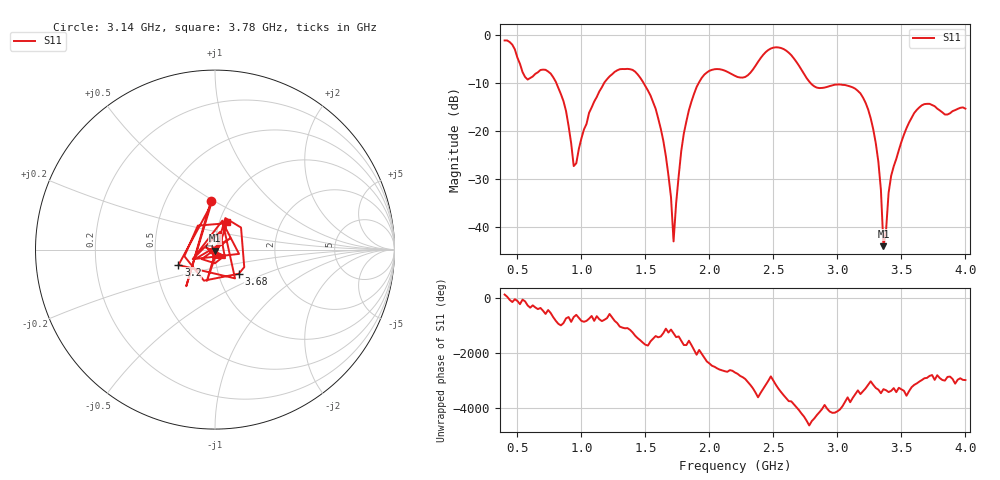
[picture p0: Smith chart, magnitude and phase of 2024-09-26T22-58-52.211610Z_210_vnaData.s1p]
!Created with skrf (http://scikit-rf.org).
# Hz S RI R 50.0
!freq ReS11 ImS11
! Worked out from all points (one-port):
!   181 points, 400 MHz to 4 GHz, reference 50 ohm
!   lowest |S11| = -44.1 dB at 3.36 GHz (marker M1), VSWR 1.01, Z = 50.1 - j0.622 ohm
!   |S11| at or under -10 dB: 802.7 MHz to 1.179 GHz (376.4 MHz wide, 38 % of centre); 1.484 GHz to 1.918 GHz (434.2 MHz wide, 25.5 % of centre); 2.787 GHz to end of sweep
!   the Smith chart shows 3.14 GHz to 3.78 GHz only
!   S11 on the Smith chart (normalised r, x): 3.14 GHz: 0.83, +0.49; 3.2 GHz: 0.65, -0.12; 3.68 GHz: 1.25, -0.35; 3.78 GHz: 1.09, +0.35
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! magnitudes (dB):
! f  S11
! 400 MHz  -1.2
! 560 MHz  -8.8
! 720 MHz  -7.3
! 860 MHz  -13.9
! 940 MHz  -27.4
! 1.1 GHz  -13.9
! 1.3 GHz  -7.2
! 1.58 GHz  -15.4
! 1.66 GHz  -25.3
! 1.7 GHz  -33.9
! 1.72 GHz  -43.1
! 1.76 GHz  -29.5
! 1.82 GHz  -18.1
! 1.92 GHz  -9.9
! 2.2 GHz  -8.6
! 2.5 GHz  -2.7
! 2.66 GHz  -5.0
! 2.82 GHz  -10.8
! 3.1 GHz  -10.8
! 3.14 GHz  -11.3
! 3.2 GHz  -13.1
! 3.32 GHz  -26.5
! 3.36 GHz  -44.1
! 3.42 GHz  -29.4
! 3.56 GHz  -18.3
! 3.68 GHz  -14.5
! 3.78 GHz  -15.4
! 4 GHz  -15.4
